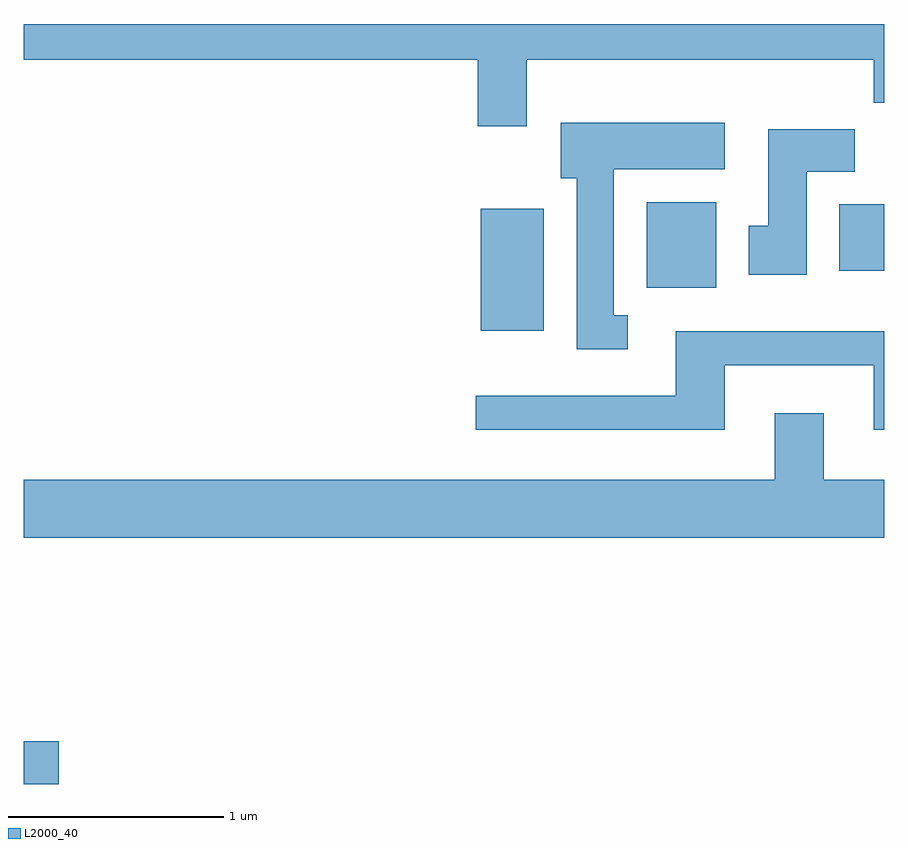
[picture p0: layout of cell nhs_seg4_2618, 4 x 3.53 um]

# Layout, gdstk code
import gdstk
lib = gdstk.Library(unit=1e-6, precision=1e-09)
def R(c, l, rs):  # rectangles x0, y0, x1, y1
    for r in rs: c.add(gdstk.rectangle(r[:2], r[2:], *l))
def P(c, l, *ps):  # polygons
    for p in ps: c.add(gdstk.Polygon(p, *l))
L2000_40 = (2000, 40)

nhs_seg4_2618 = lib.new_cell('nhs_seg4_2618')
R(nhs_seg4_2618, L2000_40, [(261.611,1322.451,261.774,1322.649), (263.736,1324.556,264.029,1325.124), (264.506,1324.756,264.829,1325.154), (265.401,1324.836,265.611,1325.144)])
P(nhs_seg4_2618, L2000_40, [(263.949,1325.816),(265.561,1325.816),(265.561,1325.616),(265.611,1325.616),(265.611,1325.982),(261.611,1325.982),(261.611,1325.816),(263.721,1325.816),(263.721,1325.506),(263.949,1325.506)],
  [(264.418,1324.629),(264.354,1324.629),(264.354,1325.306),(264.869,1325.306),(264.869,1325.524),(264.106,1325.524),(264.106,1325.266),(264.181,1325.266),(264.181,1324.471),(264.418,1324.471)],
  [(265.249,1325.296),(265.474,1325.296),(265.474,1325.494),(265.071,1325.494),(265.071,1325.044),(264.981,1325.044),(264.981,1324.816),(265.249,1324.816)],
  [(264.869,1324.396),(265.561,1324.396),(265.561,1324.096),(265.611,1324.096),(265.611,1324.554),(264.641,1324.554),(264.641,1324.254),(263.713,1324.254),(263.713,1324.096),(264.869,1324.096)],
  [(265.611,1323.864),(265.329,1323.864),(265.329,1324.174),(265.101,1324.174),(265.101,1323.864),(261.611,1323.864),(261.611,1323.596),(265.611,1323.596)])

lib.write_gds('nhs_seg4_2618.gds')
